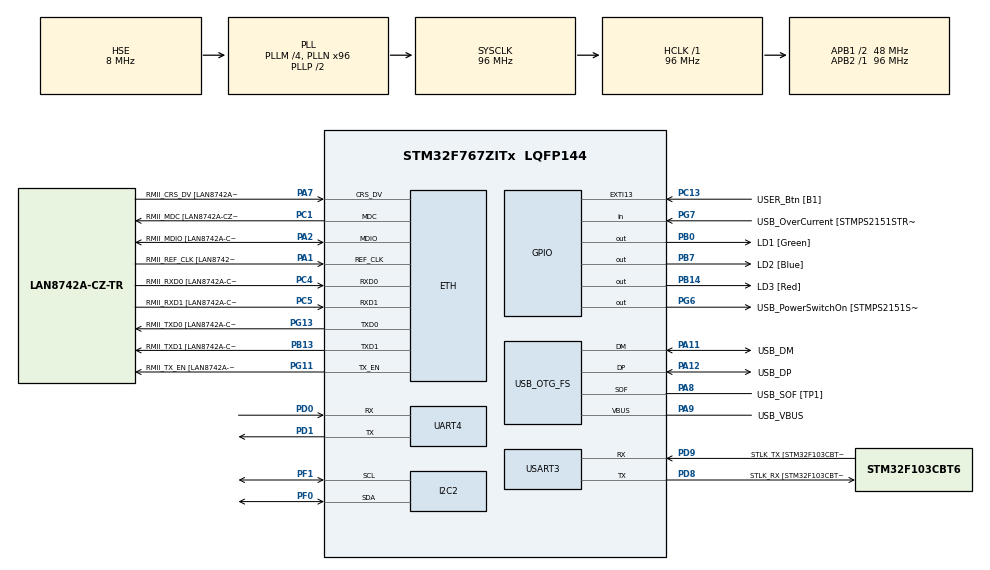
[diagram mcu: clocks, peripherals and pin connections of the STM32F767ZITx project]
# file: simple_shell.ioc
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ETH.MediaInterface=HAL_ETH_RMII_MODE
ETH.PHY_Name=LAN8742A_PHY_ADDRESS
ETH.PHY_Value=0
ETH.PhyAddress=0
FREERTOS.Tasks01=defaultTask,24,128,StartDefaultTask,Default,NULL,Dynamic,NULL,NULL
I2C2.Timing=0x20303E5D
Mcu.Family=STM32F7
Mcu.Name=STM32F767ZITx
Mcu.Package=LQFP144
NVIC.PriorityGroup=NVIC_PRIORITYGROUP_4
NVIC.TIM6_DAC_IRQn=true\:15\:0\:false\:false\:true\:false\:false\:true\:true
NVIC.TimeBase=TIM6_DAC_IRQn
NVIC.TimeBaseIP=TIM6
NVIC.UART4_IRQn=true\:5\:0\:false\:false\:true\:true\:true\:true\:true
PA1.GPIO_Label=RMII_REF_CLK [LAN8742A-CZ-TR_REFCLK0]
PA1.Mode=RMII
PA1.Signal=ETH_REF_CLK
PA10.GPIO_Label=USB_ID
PA10.Signal=USB_OTG_FS_ID
PA11.GPIO_Label=USB_DM
PA11.Mode=Device_Only
PA11.Signal=USB_OTG_FS_DM
PA12.GPIO_Label=USB_DP
PA12.Mode=Device_Only
PA12.Signal=USB_OTG_FS_DP
PA13.GPIO_Label=TMS
PA13.Mode=Trace_Asynchronous_SW
PA13.Signal=SYS_JTMS-SWDIO
PA14.GPIO_Label=TCK
PA14.Mode=Trace_Asynchronous_SW
PA14.Signal=SYS_JTCK-SWCLK
PA2.GPIO_Label=RMII_MDIO [LAN8742A-CZ-TR_MDIO]
PA2.Mode=RMII
PA2.Signal=ETH_MDIO
PA7.GPIO_Label=RMII_CRS_DV [LAN8742A-CZ-TR_CRS_DV]
PA7.Mode=RMII
PA7.Signal=ETH_CRS_DV
PA8.GPIO_Label=USB_SOF [TP1]
PA8.Mode=Activate_SOF_FS
PA8.Signal=USB_OTG_FS_SOF
PA9.GPIO_Label=USB_VBUS
PA9.Mode=Activate_VBUS
PA9.Signal=USB_OTG_FS_VBUS
PB0.GPIO_Label=LD1 [Green]
PB0.Signal=GPIO_Output
PB13.GPIO_Label=RMII_TXD1 [LAN8742A-CZ-TR_TXD1]
PB13.Mode=RMII
PB13.Signal=ETH_TXD1
PB14.GPIO_Label=LD3 [Red]
PB14.Signal=GPIO_Output
PB3.GPIO_Label=SWO
PB3.Mode=Trace_Asynchronous_SW
PB3.Signal=SYS_JTDO-SWO
PB7.GPIO_Label=LD2 [Blue]
PB7.Signal=GPIO_Output
PC1.GPIO_Label=RMII_MDC [LAN8742A-CZ-TR_MDC]
PC1.Mode=RMII
PC1.Signal=ETH_MDC
PC13.GPIO_Label=USER_Btn [B1]
PC13.Signal=GPXTI13
PC14/OSC32_IN.Mode=LSE-External-Oscillator
PC14/OSC32_IN.Signal=RCC_OSC32_IN
PC15/OSC32_OUT.Mode=LSE-External-Oscillator
PC15/OSC32_OUT.Signal=RCC_OSC32_OUT
PC4.GPIO_Label=RMII_RXD0 [LAN8742A-CZ-TR_RXD0]
PC4.Mode=RMII
PC4.Signal=ETH_RXD0
PC5.GPIO_Label=RMII_RXD1 [LAN8742A-CZ-TR_RXD1]
PC5.Mode=RMII
PC5.Signal=ETH_RXD1
PD0.Mode=Asynchronous
PD0.Signal=UART4_RX
PD1.Mode=Asynchronous
PD1.Signal=UART4_TX
PD8.GPIO_Label=STLK_RX [STM32F103CBT6_PA3]
PD8.Mode=Asynchronous
PD8.Signal=USART3_TX
PD9.GPIO_Label=STLK_TX [STM32F103CBT6_PA2]
PD9.Mode=Asynchronous
PD9.Signal=USART3_RX
PF0.Mode=I2C
PF0.Signal=I2C2_SDA
PF1.Mode=I2C
PF1.Signal=I2C2_SCL
PG11.GPIO_Label=RMII_TX_EN [LAN8742A-CZ-TR_TXEN]
PG11.Mode=RMII
PG11.Signal=ETH_TX_EN
PG13.GPIO_Label=RMII_TXD0 [LAN8742A-CZ-TR_TXD0]
PG13.Mode=RMII
PG13.Signal=ETH_TXD0
PG6.GPIO_Label=USB_PowerSwitchOn [STMPS2151STR_EN]
PG6.Signal=GPIO_Output
PG7.GPIO_Label=USB_OverCurrent [STMPS2151STR_FAULT]
PG7.Signal=GPIO_Input
PH0/OSC_IN.GPIO_Label=MCO [STM32F103CBT6_PA8]
PH0/OSC_IN.Mode=HSE-External-Clock-Source
PH0/OSC_IN.Signal=RCC_OSC_IN
PH1/OSC_OUT.Mode=HSE-External-Clock-Source
PH1/OSC_OUT.Signal=RCC_OSC_OUT
ProjectManager.HeapSize=0x200
ProjectManager.StackSize=0x400
ProjectManager.TargetToolchain=STM32CubeIDE
RCC.48MHZClocksFreq_Value=24000000
RCC.AHBFreq_Value=96000000
RCC.APB1CLKDivider=RCC_HCLK_DIV2
RCC.APB1Freq_Value=48000000
RCC.APB1TimFreq_Value=96000000
RCC.APB2Freq_Value=96000000
RCC.APB2TimFreq_Value=96000000
RCC.CortexFreq_Value=96000000
RCC.HCLKFreq_Value=96000000
RCC.HSE_VALUE=8000000
RCC.HSI_VALUE=16000000
RCC.PLLM=4
RCC.PLLMUL=RCC_PLL_MUL9
RCC.PLLN=96
RCC.PLLQ=4
RCC.PRESCALERUSB=RCC_USBCLKSOURCE_PLL_DIV1_5
RCC.SYSCLKFreq_VALUE=96000000
RCC.SYSCLKSource=RCC_SYSCLKSOURCE_PLLCLK
RCC.SYSCLKSourceVirtual=RCC_SYSCLKSOURCE_PLLCLK
RCC.USBFreq_Value=48000000
RCC.VCOOutputFreq_Value=192000000
USART3.VirtualMode-Asynchronous=VM_ASYNC
USB_OTG_FS.VirtualMode=Device_Only
VP_FREERTOS_VS_CMSIS_V2.Mode=CMSIS_V2
VP_SYS_VS_tim6.Mode=TIM6
board=NUCLEO-F767ZI

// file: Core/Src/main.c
/* USER CODE BEGIN Header */
/**
  ******************************************************************************
  * @file           : main.c
  * @brief          : Main program body with FreeRTOS Implementation
  ******************************************************************************
  */
/* USER CODE END Header */

#include "main.h"
#include "cmsis_os.h"
#include "eth.h"
#include "i2c.h"
#include "usart.h"
#include "usb_otg.h"
#include "gpio.h"

/* USER CODE BEGIN Includes */
#include "FreeRTOS.h"
#include "task.h"
#include "semphr.h"
#include "queue.h"
#include "timers.h"

// Application modules
#include "terminal_ui.h"
#include "sensors.h"
#include "led_control.h"
#include "system_logging.h"
#include "system_config.h"
#include "persistent_logging.h"  // Add persistent logging
/* USER CODE END Includes */

/* USER CODE BEGIN PD */
#define TERMINAL_TASK_PRIORITY    3
#define SENSOR_TASK_PRIORITY      2
#define LED_TASK_PRIORITY         2
#define SYSTEM_TASK_PRIORITY      1

#define TERMINAL_STACK_SIZE       1024
#define SENSOR_STACK_SIZE         512
#define LED_STACK_SIZE            256
#define SYSTEM_STACK_SIZE         256
/* USER CODE END PD */

/* USER CODE BEGIN PV */

// Global FreeRTOS Objects
SemaphoreHandle_t uartMutex = NULL;
SemaphoreHandle_t i2cMutex = NULL;

// Task handles
TaskHandle_t terminalTaskHandle = NULL;
TaskHandle_t sensorTaskHandle = NULL;
TaskHandle_t ledTaskHandle = NULL;
TaskHandle_t systemTaskHandle = NULL;

// Timers
TimerHandle_t sensorTimer = NULL;

/* USER CODE END PV */

void SystemClock_Config(void);
void MX_FREERTOS_Init(void);

/* USER CODE BEGIN PFP */
// Task function prototypes
void TerminalTask(void *argument);
void SensorTask(void *argument);
void LEDTask(void *argument);
void SystemTask(void *argument);

// Timer callback
void SensorTimerCallback(TimerHandle_t xTimer);
/* USER CODE END PFP */

int main(void)
{

  /* MCU Configuration--------------------------------------------------------*/
  /* Reset of all peripherals, Initializes the Flash interface and the Systick. */
  HAL_Init();

  /* Configure the system clock */
  SystemClock_Config();

  /* Initialize all configured peripherals */
  MX_GPIO_Init();
  MX_ETH_Init();
  MX_UART4_Init();
  MX_USART3_UART_Init();
  MX_USB_OTG_FS_PCD_Init();
  MX_I2C2_Init();

  /* USER CODE BEGIN 2 */

  // Verify UART4 interrupt priority is FreeRTOS compatible
  HAL_NVIC_SetPriority(UART4_IRQn, 5, 0);  // CRITICAL: Must be >= 5 for FreeRTOS

  // Create FreeRTOS objects BEFORE starting scheduler
  uartMutex = xSemaphoreCreateMutex();
  i2cMutex = xSemaphoreCreateMutex();

  if (uartMutex == NULL || i2cMutex == NULL) {
    HAL_UART_Transmit(&huart4, (uint8_t*)"FATAL: Mutex creation failed\r\n", 30, 1000);
    Error_Handler();
  }

  // Initialize basic modules
  LED_Init();

  // Initialize terminal UI (sets up UART interrupt)
  TerminalUI_Init();

  /* USER CODE END 2 */

  /* Init scheduler */
  osKernelInitialize();

  /* Call init function for freertos objects (in cmsis_os2.c) */
  MX_FREERTOS_Init();

  /* Start scheduler */
  osKernelStart();

  /* We should never get here as control is now taken by the scheduler */
  /* Infinite loop */
  while (1)
  {
  }
}

void SystemClock_Config(void)
{
  RCC_OscInitTypeDef RCC_OscInitStruct = {0};
  RCC_ClkInitTypeDef RCC_ClkInitStruct = {0};

  /** Configure LSE Drive Capability */
  HAL_PWR_EnableBkUpAccess();

  /** Configure the main internal regulator output voltage */
  __HAL_RCC_PWR_CLK_ENABLE();
  __HAL_PWR_VOLTAGESCALING_CONFIG(PWR_REGULATOR_VOLTAGE_SCALE3);

  /** Initializes the RCC Oscillators according to the specified parameters
  * in the RCC_OscInitTypeDef structure.
  */
  RCC_OscInitStruct.OscillatorType = RCC_OSCILLATORTYPE_HSE;
  RCC_OscInitStruct.HSEState = RCC_HSE_BYPASS;
  RCC_OscInitStruct.PLL.PLLState = RCC_PLL_ON;
  RCC_OscInitStruct.PLL.PLLSource = RCC_PLLSOURCE_HSE;
  RCC_OscInitStruct.PLL.PLLM = 4;
  RCC_OscInitStruct.PLL.PLLN = 96;
  RCC_OscInitStruct.PLL.PLLP = RCC_PLLP_DIV2;
  RCC_OscInitStruct.PLL.PLLQ = 4;
  RCC_OscInitStruct.PLL.PLLR = 2;
  if (HAL_RCC_OscConfig(&RCC_OscInitStruct) != HAL_OK)
  {
    Error_Handler();
  }

  /** Activate the Over-Drive mode */
  if (HAL_PWREx_EnableOverDrive() != HAL_OK)
  {
    Error_Handler();
  }

  /** Initializes the CPU, AHB and APB buses clocks */
  RCC_ClkInitStruct.ClockType = RCC_CLOCKTYPE_HCLK|RCC_CLOCKTYPE_SYSCLK
                              |RCC_CLOCKTYPE_PCLK1|RCC_CLOCKTYPE_PCLK2;
  RCC_ClkInitStruct.SYSCLKSource = RCC_SYSCLKSOURCE_PLLCLK;
  RCC_ClkInitStruct.AHBCLKDivider = RCC_SYSCLK_DIV1;
  RCC_ClkInitStruct.APB1CLKDivider = RCC_HCLK_DIV2;
  RCC_ClkInitStruct.APB2CLKDivider = RCC_HCLK_DIV1;

  if (HAL_RCC_ClockConfig(&RCC_ClkInitStruct, FLASH_LATENCY_3) != HAL_OK)
  {
    Error_Handler();
  }
}

/* USER CODE BEGIN 4 */

/**
  * @brief  FreeRTOS initialization
  * @param  None
  * @retval None
  */
void MX_FREERTOS_Init(void) {
  /* USER CODE BEGIN Init */
  /* USER CODE END Init */

  /* USER CODE BEGIN RTOS_MUTEX */
  // Mutexes already created in main()
  /* USER CODE END RTOS_MUTEX */

  /* USER CODE BEGIN RTOS_SEMAPHORES */
  /* USER CODE END RTOS_SEMAPHORES */

  /* USER CODE BEGIN RTOS_TIMERS */
  // Create software timers
  sensorTimer = xTimerCreate("SensorTimer",
                            pdMS_TO_TICKS(5000),  // 5 second timer
                            pdTRUE,  // Auto-reload
                            (void*)0,
                            SensorTimerCallback);

  if (sensorTimer != NULL) {
    xTimerStart(sensorTimer, 0);
  }
  /* USER CODE END RTOS_TIMERS */

  /* USER CODE BEGIN RTOS_QUEUES */
  /* USER CODE END RTOS_QUEUES */

  /* Create the thread(s) */
  /* USER CODE BEGIN RTOS_THREADS */

  // Terminal Task - Highest priority for responsiveness
  BaseType_t result1 = xTaskCreate(TerminalTask,
                                  "TerminalTask",
                                  TERMINAL_STACK_SIZE,
                                  NULL,
                                  TERMINAL_TASK_PRIORITY,
                                  &terminalTaskHandle);

  // Sensor Task - Normal priority
  BaseType_t result2 = xTaskCreate(SensorTask,
                                  "SensorTask",
                                  SENSOR_STACK_SIZE,
                                  NULL,
                                  SENSOR_TASK_PRIORITY,
                                  &sensorTaskHandle);

  // LED Task - Normal priority
  BaseType_t result3 = xTaskCreate(LEDTask,
                                  "LEDTask",
                                  LED_STACK_SIZE,
                                  NULL,
                                  LED_TASK_PRIORITY,
                                  &ledTaskHandle);

  // System monitoring task - Lower priority
  BaseType_t result4 = xTaskCreate(SystemTask,
                                  "SystemTask",
                                  SYSTEM_STACK_SIZE,
                                  NULL,
                                  SYSTEM_TASK_PRIORITY,
                                  &systemTaskHandle);

  // Use direct UART instead of SystemLog during initialization
  if (result1 != pdPASS || result2 != pdPASS ||
      result3 != pdPASS || result4 != pdPASS) {
    HAL_UART_Transmit(&huart4, (uint8_t*)"FATAL: Task creation failed\r\n", 29, 1000);
  }

  /* USER CODE END RTOS_THREADS */

  /* USER CODE BEGIN RTOS_EVENTS */
  /* USER CODE END RTOS_EVENTS */
}

// Task Implementations
void TerminalTask(void *argument) {
  // Add small delay to ensure system is stable
  vTaskDelay(pdMS_TO_TICKS(100));

  // Initialize modules that need FreeRTOS
  SystemLog_Init();
  PersistentLog_Init();  // Initialize persistent logging
  Sensors_Init();

  // Log system startup to persistent storage
  PersistentLog_Add(LOG_INFO, "system", "System started successfully");

  // Now safe to use terminal functions with mutexes
  TerminalUI_ShowBanner();

  for(;;) {
    TerminalUI_ProcessInput();
    TerminalUI_CheckTimeout();
    vTaskDelay(pdMS_TO_TICKS(10));  // 10ms polling
  }
}

void SensorTask(void *argument) {
  static uint32_t log_counter = 0;
  for(;;) {
    // Wait for sensor timer notification
    ulTaskNotifyTake(pdTRUE, pdMS_TO_TICKS(10000));

    if (Sensors_UpdateAll()) {
      // Only log every 10th sensor update to save flash space
      log_counter++;
      if (log_counter >= 10) {
        PersistentLog_Add(LOG_SENSOR, "sensors", "Periodic sensor update");
        log_counter = 0;
      }
    }

    vTaskDelay(pdMS_TO_TICKS(100));
  }
}

void LEDTask(void *argument) {
  for(;;) {
    LED_UpdateTimers();
    vTaskDelay(pdMS_TO_TICKS(100));  // 100ms LED update
  }
}

void SystemTask(void *argument) {
  for(;;) {
    // System monitoring - heap, stack, tasks
    size_t freeHeap = xPortGetFreeHeapSize();
    if (freeHeap < 1000) {
      PersistentLog_Add(LOG_WARNING, "system", "Low heap memory");
    }

    // Check stack usage
    if (terminalTaskHandle != NULL) {
      UBaseType_t terminalStack = uxTaskGetStackHighWaterMark(terminalTaskHandle);
      if (terminalStack < 50) {
        PersistentLog_Add(LOG_WARNING, "system", "Terminal task low stack");
      }
    }

    vTaskDelay(pdMS_TO_TICKS(10000));  // Check every 10 seconds
  }
}

// Timer Callback
void SensorTimerCallback(TimerHandle_t xTimer) {
  // Notify sensor task to update
  if (sensorTaskHandle != NULL) {
    xTaskNotifyGive(sensorTaskHandle);
  }
}

/* USER CODE END 4 */

void HAL_TIM_PeriodElapsedCallback(TIM_HandleTypeDef *htim)
{
  if (htim->Instance == TIM6)
  {
    HAL_IncTick();
  }
}

void Error_Handler(void)
{
  /* USER CODE BEGIN Error_Handler_Debug */
  // Log critical error to persistent storage before halting
  if (uartMutex != NULL) {
    PersistentLog_Add(LOG_ERROR, "system", "Critical error - system halted");
  }
  __disable_irq();
  while (1)
  {
  }
  /* USER CODE END Error_Handler_Debug */
}
